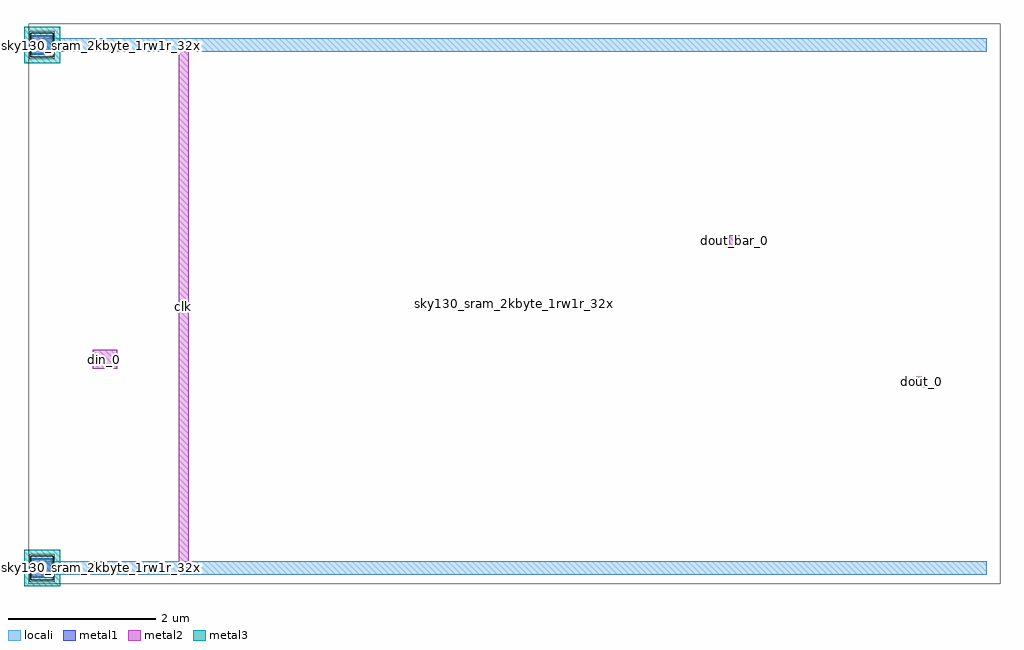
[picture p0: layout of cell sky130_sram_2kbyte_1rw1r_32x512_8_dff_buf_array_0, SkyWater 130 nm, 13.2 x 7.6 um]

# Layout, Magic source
magic
tech sky130A
magscale 1 2
<< locali >>
rect 0 1396 2554 1432
rect 0 -18 2554 18
<< metal1 >>
rect -32 1388 32 1440
rect -32 -26 32 26
<< metal2 >>
rect -28 1390 28 1438
rect 137 538 203 590
rect -28 -24 28 24
rect 369 0 397 1414
rect 1858 871 1886 899
rect 2364 489 2392 517
<< metal3 >>
rect -49 1365 49 1463
rect -49 -49 49 49
use sky130_sram_2kbyte_1rw1r_32x512_8_dff_buf_0  sky130_sram_2kbyte_1rw1r_32x512_8_dff_buf_0_0
transform 1 0 0 0 1 0
box -36 -43 2590 1471
use sky130_sram_2kbyte_1rw1r_32x512_8_contact_7  sky130_sram_2kbyte_1rw1r_32x512_8_contact_7_0
transform 1 0 -33 0 1 -37
box 0 0 66 74
use sky130_sram_2kbyte_1rw1r_32x512_8_contact_19  sky130_sram_2kbyte_1rw1r_32x512_8_contact_19_0
transform 1 0 -32 0 1 -32
box 0 0 64 64
use sky130_sram_2kbyte_1rw1r_32x512_8_contact_14  sky130_sram_2kbyte_1rw1r_32x512_8_contact_14_0
transform 1 0 -29 0 1 -33
box 0 0 58 66
use sky130_sram_2kbyte_1rw1r_32x512_8_contact_7  sky130_sram_2kbyte_1rw1r_32x512_8_contact_7_1
transform 1 0 -33 0 1 1377
box 0 0 66 74
use sky130_sram_2kbyte_1rw1r_32x512_8_contact_19  sky130_sram_2kbyte_1rw1r_32x512_8_contact_19_1
transform 1 0 -32 0 1 1382
box 0 0 64 64
use sky130_sram_2kbyte_1rw1r_32x512_8_contact_14  sky130_sram_2kbyte_1rw1r_32x512_8_contact_14_1
transform 1 0 -29 0 1 1381
box 0 0 58 66
<< labels >>
rlabel metal3 s -49 1365 49 1463 4 vdd
rlabel metal3 s -49 -49 49 49 4 gnd
rlabel metal2 s 137 538 203 590 4 din_0
rlabel metal2 s 2364 489 2392 517 4 dout_0
rlabel metal2 s 1858 871 1886 899 4 dout_bar_0
rlabel metal2 s 369 0 397 1414 4 clk
<< properties >>
string FIXED_BBOX 0 0 2554 1414
<< end >>
